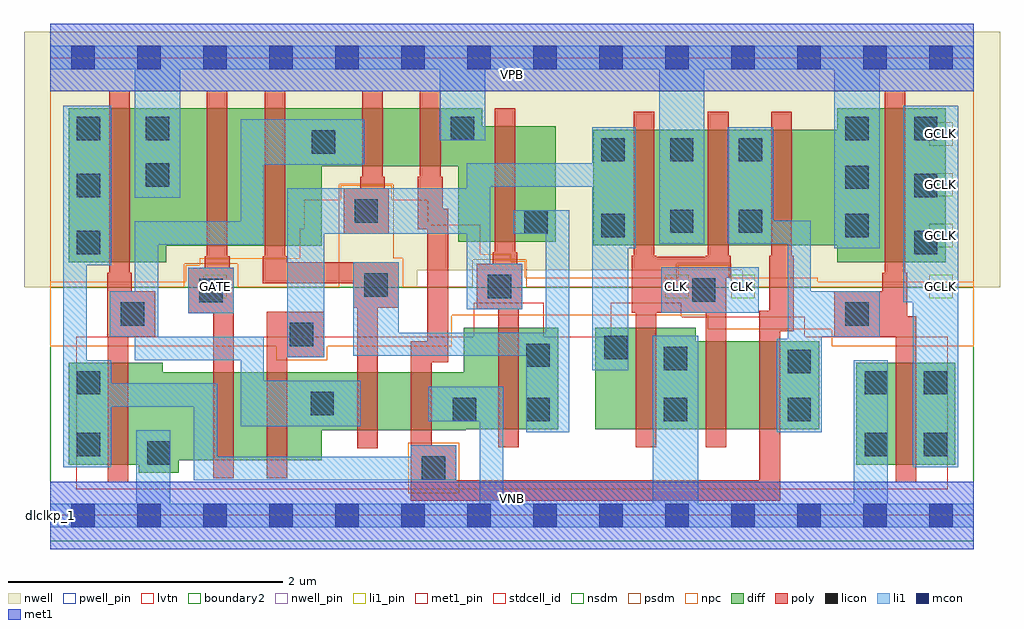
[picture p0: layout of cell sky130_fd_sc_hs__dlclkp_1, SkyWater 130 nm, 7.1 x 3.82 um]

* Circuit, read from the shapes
.subckt sky130_fd_sc_hs__dlclkp_1 CLK GATE GCLK VGND VNB VPB VPWR
XM1 VGND n1 n2 VNB sky130_fd_pr__nfet_01v8_lvt w=0.74 l=0.15
XM2 n3 GATE VGND VNB sky130_fd_pr__nfet_01v8_lvt w=0.64 l=0.15
XM3 n1 n4 n3 VNB sky130_fd_pr__nfet_01v8_lvt w=0.64 l=0.15
XM4 n5 n6 n1 VNB sky130_fd_pr__nfet_01v8_lvt w=0.42 l=0.15
XM5 VGND n2 n5 VNB sky130_fd_pr__nfet_01v8_lvt w=0.42 l=0.15
XM6 n6 n4 VGND VNB sky130_fd_pr__nfet_01v8_lvt w=0.74 l=0.15
XM7 VGND CLK n4 VNB sky130_fd_pr__nfet_01v8_lvt w=0.74 l=0.15
XM8 n7 CLK VGND VNB sky130_fd_pr__nfet_01v8_lvt w=0.64 l=0.15
XM9 n8 n2 n7 VNB sky130_fd_pr__nfet_01v8_lvt w=0.64 l=0.15
XM10 GCLK n8 VGND VNB sky130_fd_pr__nfet_01v8_lvt w=0.74 l=0.15
XM11 VPWR n1 n2 VPB sky130_fd_pr__pfet_01v8 w=1.12 l=0.15
XM12 n9 GATE VPWR VPB sky130_fd_pr__pfet_01v8 w=1 l=0.15
XM13 n1 n6 n9 VPB sky130_fd_pr__pfet_01v8 w=1 l=0.15
XM14 n10 n4 n1 VPB sky130_fd_pr__pfet_01v8 w=0.42 l=0.15
XM15 VPWR n2 n10 VPB sky130_fd_pr__pfet_01v8 w=0.42 l=0.15
XM16 n6 n4 VPWR VPB sky130_fd_pr__pfet_01v8 w=0.84 l=0.15
XM17 VPWR CLK n4 VPB sky130_fd_pr__pfet_01v8 w=0.84 l=0.15
XM18 n8 CLK VPWR VPB sky130_fd_pr__pfet_01v8 w=0.84 l=0.15
XM19 VPWR n2 n8 VPB sky130_fd_pr__pfet_01v8 w=0.84 l=0.15
XM20 GCLK n8 VPWR VPB sky130_fd_pr__pfet_01v8 w=1.12 l=0.15
.ends

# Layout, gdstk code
import gdstk
lib = gdstk.Library(unit=1e-6, precision=1e-09)
def R(c, l, rs):  # rectangles x0, y0, x1, y1
    for r in rs: c.add(gdstk.rectangle(r[:2], r[2:], *l))
def A(c, l, x, y, w, h, nx, ny, dx, dy):  # array of equal rectangles
    R(c, l, [(x+i*dx, y+j*dy, x+i*dx+w, y+j*dy+h) for i in range(nx) for j in range(ny)])
def P(c, l, *ps):  # polygons
    for p in ps: c.add(gdstk.Polygon(p, *l))
nwell_pin = (64, 16)
nwell = (64, 20)
diff = (65, 20)
poly = (66, 20)
licon = (66, 44)
li1_pin = (67, 16)
li1 = (67, 20)
mcon = (67, 44)
met1_pin = (68, 16)
met1 = (68, 20)
stdcell_id = (81, 4)
nsdm = (93, 44)
psdm = (94, 20)
npc = (95, 20)
pwell_pin = (122, 16)
lvtn = (125, 44)
boundary2 = (236, 0)

sky130_fd_sc_hs__dlclkp_ = lib.new_cell('sky130_fd_sc_hs__dlclkp_1')
R(sky130_fd_sc_hs__dlclkp_, nwell_pin, [(0,3.085,6.72,3.33)])
P(sky130_fd_sc_hs__dlclkp_, nwell, [(6.91,3.52),(-0.19,3.52),(-0.19,1.66),(2.67,1.66),(2.67,1.785),(5.035,1.785),(5.035,1.66),(6.91,1.66)])
R(sky130_fd_sc_hs__dlclkp_, diff, [(5.865,0.37,6.585,1.11)])
P(sky130_fd_sc_hs__dlclkp_, diff, [(3.68,2.83),(3.145,2.83),(3.145,2.96),(0.135,2.96),(0.135,1.84),(0.845,1.84),(0.845,1.96),(1.975,1.96),(1.975,2.54),(2.97,2.54),(2.97,1.99),(3.68,1.99)],
  [(3.695,1.365),(3.01,1.365),(3.01,1.04),(0.82,1.04),(0.82,1.11),(0.135,1.11),(0.135,0.37),(0.645,0.37),(0.645,0.31),(0.935,0.31),(0.935,0.4),(1.975,0.4),(1.975,0.62),(3.025,0.62),(3.025,0.625),(3.695,0.625)],
  [(5.595,1.265),(4.695,1.265),(4.695,1.365),(3.965,1.365),(3.965,0.625),(5.595,0.625)],
  [(6.515,2.96),(5.725,2.96),(5.725,2.805),(3.95,2.805),(3.95,1.965),(5.725,1.965),(5.725,1.84),(6.515,1.84)])
P(sky130_fd_sc_hs__dlclkp_, poly, [(6.3,1.45),(6.235,1.45),(6.235,1.765),(6.22,1.765),(6.22,3.09),(6.07,3.09),(6.07,1.765),(6.055,1.765),(6.055,1.63),(5.705,1.63),(5.705,1.3),(6.15,1.3),(6.15,0.24),(6.3,0.24)],
  [(5.41,1.89),(5.395,1.89),(5.395,2.935),(5.245,2.935),(5.245,1.89),(5.23,1.89),(5.23,1.49),(5.16,1.49),(5.16,0.255),(2.955,0.255),(2.955,0.51),(2.775,0.51),(2.775,1.115),(2.895,1.115),(2.895,2.23),(2.855,2.23),(2.855,2.465),(2.84,2.465),(2.84,3.09),(2.69,3.09),(2.69,2.465),(2.675,2.465),(2.675,2.08),(2.745,2.08),(2.745,1.265),(2.625,1.265),(2.625,0.105),(5.31,0.105),(5.31,1.34),(5.41,1.34)],
  [(4.95,1.89),(4.935,1.89),(4.935,2.935),(4.785,2.935),(4.785,1.89),(4.77,1.89),(4.77,1.88),(4.41,1.88),(4.41,1.89),(4.395,1.89),(4.395,2.935),(4.245,2.935),(4.245,1.89),(4.23,1.89),(4.23,1.475),(4.26,1.475),(4.26,0.495),(4.41,0.495),(4.41,1.475),(4.77,1.475),(4.77,0.495),(4.92,0.495),(4.92,1.73),(4.95,1.73)],
  [(3.435,1.83),(3.4,1.83),(3.4,1.915),(3.385,1.915),(3.385,2.96),(3.235,2.96),(3.235,1.915),(3.22,1.915),(3.22,1.83),(3.105,1.83),(3.105,1.5),(3.26,1.5),(3.26,0.495),(3.41,0.495),(3.41,1.5),(3.435,1.5)],
  [(2.535,1.84),(1.725,1.84),(1.725,1.885),(1.71,1.885),(1.71,3.09),(1.56,3.09),(1.56,1.885),(1.545,1.885),(1.545,1.69),(2.205,1.69),(2.205,1.51),(2.235,1.51),(2.235,0.49),(2.385,0.49),(2.385,1.51),(2.535,1.51)],
  [(2.465,2.38),(2.435,2.38),(2.435,2.465),(2.42,2.465),(2.42,3.09),(2.27,3.09),(2.27,2.465),(2.255,2.465),(2.255,2.38),(2.135,2.38),(2.135,2.05),(2.465,2.05)],
  [(1.995,1.48),(1.575,1.48),(1.575,0.27),(1.725,0.27),(1.725,1.15),(1.995,1.15)],
  [(1.335,1.8),(1.305,1.8),(1.305,1.885),(1.29,1.885),(1.29,3.09),(1.14,3.09),(1.14,1.885),(1.125,1.885),(1.125,1.8),(1.005,1.8),(1.005,1.47),(1.185,1.47),(1.185,0.27),(1.335,0.27)],
  [(0.765,1.63),(0.595,1.63),(0.595,1.765),(0.58,1.765),(0.58,3.09),(0.43,3.09),(0.43,1.765),(0.415,1.765),(0.415,1.3),(0.42,1.3),(0.42,0.24),(0.57,0.24),(0.57,1.3),(0.765,1.3)])
A(sky130_fd_sc_hs__dlclkp_, licon, 0.195, 1.9, 0.17, 0.17, 1, 3, 0, 0.415)
A(sky130_fd_sc_hs__dlclkp_, licon, 6.285, 1.9, 0.17, 0.17, 1, 3, 0, 0.415)
A(sky130_fd_sc_hs__dlclkp_, licon, 4.01, 2.575, 0.17, 0.17, 3, 1, 0.5, 0)
R(sky130_fd_sc_hs__dlclkp_, licon, [(2.705,0.26,2.875,0.43), (0.705,0.37,0.875,0.54), (0.195,0.43,0.365,0.6), (5.925,0.43,6.095,0.6), (6.355,0.43,6.525,0.6), (2.93,0.685,3.1,0.855), (3.465,0.685,3.635,0.855), (4.465,0.685,4.635,0.855), (5.365,0.685,5.535,0.855), (1.895,0.73,2.065,0.9), (0.195,0.88,0.365,1.05), (5.925,0.88,6.095,1.05), (6.355,0.88,6.525,1.05), (5.365,1.035,5.535,1.205), (4.465,1.055,4.635,1.225), (3.465,1.08,3.635,1.25), (4.03,1.135,4.2,1.305), (1.745,1.23,1.915,1.4), (0.515,1.38,0.685,1.55), (5.785,1.38,5.955,1.55), (1.085,1.55,1.255,1.72), (4.67,1.555,4.84,1.725), (3.185,1.58,3.355,1.75), (2.285,1.59,2.455,1.76), (4.01,2.025,4.18,2.195), (5.785,2.025,5.955,2.195), (3.45,2.05,3.62,2.22), (4.51,2.055,4.68,2.225), (5.01,2.055,5.18,2.225), (2.215,2.13,2.385,2.3), (5.785,2.375,5.955,2.545), (0.695,2.39,0.865,2.56), (1.905,2.63,2.075,2.8), (0.695,2.73,0.865,2.9), (2.915,2.73,3.085,2.9), (5.785,2.73,5.955,2.9)])
A(sky130_fd_sc_hs__dlclkp_, li1_pin, 6.395, 1.58, 0.17, 0.17, 1, 4, 0, 0.37)
R(sky130_fd_sc_hs__dlclkp_, li1_pin, [(1.115,1.58,1.285,1.75), (4.475,1.58,4.645,1.75), (4.955,1.58,5.125,1.75)])
R(sky130_fd_sc_hs__dlclkp_, li1, [(1.005,1.47,1.335,1.8), (4.445,1.475,5.155,1.805)])
P(sky130_fd_sc_hs__dlclkp_, li1, [(0,-0.085),(0,0.085),(0.625,0.085),(0.625,0.62),(0.875,0.62),(0.875,0.085),(3.125,0.085),(3.125,0.685),(2.75,0.685),(2.75,0.935),(3.295,0.935),(3.295,0.085),(4.385,0.085),(4.385,1.305),(4.715,1.305),(4.715,0.085),(5.845,0.085),(5.845,1.13),(6.095,1.13),(6.095,0.085),(6.72,0.085),(6.72,-0.085)],
  [(0,3.245),(0,3.415),(6.72,3.415),(6.72,3.245),(6.035,3.245),(6.035,1.945),(5.705,1.945),(5.705,3.245),(4.76,3.245),(4.76,1.975),(4.43,1.975),(4.43,3.245),(3.165,3.245),(3.165,2.73),(2.835,2.73),(2.835,3.245),(0.945,3.245),(0.945,2.31),(0.615,2.31),(0.615,3.245)],
  [(6.205,1.55),(6.205,2.98),(6.605,2.98),(6.605,0.35),(6.275,0.35),(6.275,1.55)],
  [(3.03,2.38),(3.03,2.56),(3.945,2.56),(3.945,2.825),(4.26,2.825),(4.26,1.945),(4.205,1.945),(4.205,1.055),(3.945,1.055),(3.945,2.39),(3.2,2.39),(3.2,1.83),(3.435,1.83),(3.435,1.5),(3.03,1.5),(3.03,2.05),(1.995,2.05),(1.995,1.15),(1.725,1.15),(1.725,2.38)],
  [(5.26,2.145),(5.535,2.145),(5.535,1.63),(6.035,1.63),(6.035,1.3),(5.615,1.3),(5.615,0.605),(5.285,0.605),(5.285,1.285),(5.365,1.285),(5.365,1.975),(4.93,1.975),(4.93,2.825),(5.26,2.825)],
  [(1.385,2.14),(1.385,2.88),(2.285,2.88),(2.285,2.55),(1.555,2.55),(1.555,1.97),(0.785,1.97),(0.785,1.3),(1.555,1.3),(1.555,0.98),(2.26,0.98),(2.26,0.65),(1.385,0.65),(1.385,1.13),(0.615,1.13),(0.615,1.3),(0.435,1.3),(0.435,1.63),(0.615,1.63),(0.615,2.14)],
  [(0.265,1.82),(0.265,1.13),(0.445,1.13),(0.445,0.96),(1.215,0.96),(1.215,0.425),(2.625,0.425),(2.625,0.51),(2.955,0.51),(2.955,0.255),(1.045,0.255),(1.045,0.79),(0.445,0.79),(0.445,0.35),(0.095,0.35),(0.095,2.98),(0.445,2.98),(0.445,1.82)],
  [(2.205,1.16),(2.205,1.84),(2.535,1.84),(2.535,1.33),(3.605,1.33),(3.605,2.05),(3.37,2.05),(3.37,2.22),(3.775,2.22),(3.775,0.605),(3.465,0.605),(3.465,1.16)])
A(sky130_fd_sc_hs__dlclkp_, mcon, 0.155, -0.085, 0.17, 0.17, 14, 2, 0.48, 3.33)
R(sky130_fd_sc_hs__dlclkp_, met1_pin, [(0,0,6.72,0.245), (0,3.085,6.72,3.33)])
R(sky130_fd_sc_hs__dlclkp_, met1, [(0,-0.245,6.72,0.245), (0,3.085,6.72,3.575)])
R(sky130_fd_sc_hs__dlclkp_, stdcell_id, [(0,0,6.72,3.33)])
R(sky130_fd_sc_hs__dlclkp_, nsdm, [(0,-0.19,6.72,1.66)])
P(sky130_fd_sc_hs__dlclkp_, psdm, [(6.72,3.52),(0,3.52),(0,1.66),(0.975,1.66),(0.975,1.83),(1.365,1.83),(1.365,1.66),(2.105,1.66),(2.105,2.41),(2.495,2.41),(2.495,1.87),(2.565,1.87),(2.565,1.66),(3.075,1.66),(3.075,1.86),(3.465,1.86),(3.465,1.66),(4.56,1.66),(4.56,1.835),(4.95,1.835),(4.95,1.66),(6.72,1.66)])
R(sky130_fd_sc_hs__dlclkp_, npc, [(2.605,0.16,2.975,0.53)])
P(sky130_fd_sc_hs__dlclkp_, npc, [(6.72,1.7),(5.585,1.7),(5.585,1.73),(4.94,1.73),(4.94,1.825),(4.57,1.825),(4.57,1.73),(3.455,1.73),(3.455,1.85),(3.35,1.85),(3.35,1.9),(3.13,1.9),(3.13,2.115),(2.75,2.115),(2.75,2.295),(2.485,2.295),(2.485,2.4),(2.115,2.4),(2.115,2.295),(1.85,2.295),(1.85,2.085),(1.815,2.085),(1.815,1.87),(1.09,1.87),(1.09,1.82),(0.985,1.82),(0.985,1.7),(0,1.7),(0,1.23),(1.645,1.23),(1.645,1.13),(2.015,1.13),(2.015,1.23),(2.92,1.23),(2.92,1.455),(4.785,1.455),(4.785,1.355),(5.685,1.355),(5.685,1.23),(6.72,1.23)])
R(sky130_fd_sc_hs__dlclkp_, pwell_pin, [(0,0,6.72,0.245)])
P(sky130_fd_sc_hs__dlclkp_, lvtn, [(6.53,1.3),(5.49,1.3),(5.49,1.445),(4.59,1.445),(4.59,1.545),(4.08,1.545),(4.08,1.3),(3.59,1.3),(3.59,1.545),(3.08,1.545),(3.08,1.3),(0.19,1.3),(0.19,0.19),(6.53,0.19)])
R(sky130_fd_sc_hs__dlclkp_, boundary2, [(0,0,6.72,3.33)])
sky130_fd_sc_hs__dlclkp_.add(gdstk.Label('dlclkp_1', (0,0), layer=83, texttype=44))
sky130_fd_sc_hs__dlclkp_.add(gdstk.Label('VNB', (3.36,0.123), layer=64, texttype=59))
sky130_fd_sc_hs__dlclkp_.add(gdstk.Label('VPB', (3.36,3.208), layer=64, texttype=5))
sky130_fd_sc_hs__dlclkp_.add(gdstk.Label('VPWR', (3.36,3.208), layer=68, texttype=5))
sky130_fd_sc_hs__dlclkp_.add(gdstk.Label('VGND', (3.36,0.123), layer=68, texttype=5))
sky130_fd_sc_hs__dlclkp_.add(gdstk.Label('GCLK', (6.48,1.665), layer=67, texttype=5))
sky130_fd_sc_hs__dlclkp_.add(gdstk.Label('GCLK', (6.48,2.035), layer=67, texttype=5))
sky130_fd_sc_hs__dlclkp_.add(gdstk.Label('GCLK', (6.48,2.405), layer=67, texttype=5))
sky130_fd_sc_hs__dlclkp_.add(gdstk.Label('GCLK', (6.48,2.775), layer=67, texttype=5))
sky130_fd_sc_hs__dlclkp_.add(gdstk.Label('GATE', (1.2,1.665), layer=67, texttype=5))
sky130_fd_sc_hs__dlclkp_.add(gdstk.Label('CLK', (4.56,1.665), layer=67, texttype=5))
sky130_fd_sc_hs__dlclkp_.add(gdstk.Label('CLK', (5.04,1.665), layer=67, texttype=5))

lib.write_gds('sky130_fd_sc_hs__dlclkp_1.gds')
